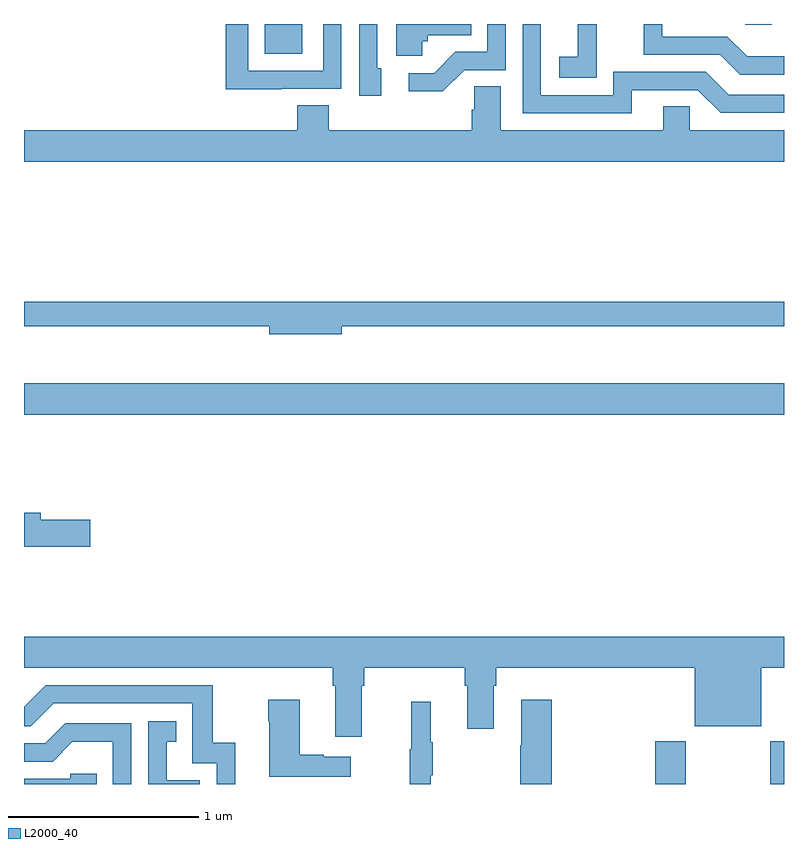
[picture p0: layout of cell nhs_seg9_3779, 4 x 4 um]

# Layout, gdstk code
import gdstk
lib = gdstk.Library(unit=1e-6, precision=1e-09)
def R(c, l, rs):  # rectangles x0, y0, x1, y1
    for r in rs: c.add(gdstk.rectangle(r[:2], r[2:], *l))
def P(c, l, *ps):  # polygons
    for p in ps: c.add(gdstk.Polygon(p, *l))
L2000_40 = (2000, 40)

nhs_seg9_3779 = lib.new_cell('nhs_seg9_3779')
R(nhs_seg9_3779, L2000_40, [(330.323,1170.5,330.483,1170.724), (330.928,1170.5,331,1170.724), (327,1172.444,331,1172.608), (328.268,1174.343,328.465,1174.5), (330.795,1174.497,330.935,1174.5)])
P(nhs_seg9_3779, L2000_40, [(329.097,1174.41),(329.124,1174.41),(329.124,1174.442),(329.354,1174.442),(329.354,1174.5),(328.958,1174.5),(328.958,1174.334),(329.097,1174.334)],
  [(329.316,1174.257),(329.535,1174.257),(329.535,1174.5),(329.439,1174.5),(329.439,1174.353),(329.27,1174.353),(329.159,1174.242),(329.025,1174.242),(329.025,1174.145),(329.203,1174.145)],
  [(328.355,1174.158),(328.671,1174.158),(328.671,1174.5),(328.575,1174.5),(328.575,1174.254),(328.179,1174.254),(328.179,1174.5),(328.063,1174.5),(328.063,1174.157),(328.355,1174.157)],
  [(330.199,1174.152),(330.546,1174.152),(330.666,1174.032),(331,1174.032),(331,1174.128),(330.708,1174.128),(330.588,1174.248),(330.102,1174.248),(330.102,1174.125),(329.721,1174.125),(329.721,1174.5),(329.625,1174.5),(329.625,1174.029),(330.199,1174.029)],
  [(330.015,1174.423),(330.014,1174.423),(330.014,1174.5),(329.915,1174.5),(329.915,1174.327),(329.817,1174.327),(329.817,1174.217),(330.015,1174.217)],
  [(331,1174.33),(330.806,1174.33),(330.702,1174.434),(330.36,1174.434),(330.36,1174.5),(330.262,1174.5),(330.262,1174.338),(330.665,1174.338),(330.77,1174.233),(331,1174.233)],
  [(328.879,1174.266),(328.86,1174.266),(328.86,1174.5),(328.764,1174.5),(328.764,1174.122),(328.879,1174.122)],
  [(331,1173.94),(330.504,1173.94),(330.504,1174.067),(330.365,1174.067),(330.365,1173.94),(329.509,1173.94),(329.509,1174.172),(329.37,1174.172),(329.37,1174.049),(329.357,1174.049),(329.357,1173.94),(328.604,1173.94),(328.604,1174.073),(328.439,1174.073),(328.439,1173.94),(327,1173.94),(327,1173.776),(331,1173.776)],
  [(328.672,1172.91),(331,1172.91),(331,1173.038),(327,1173.038),(327,1172.91),(328.292,1172.91),(328.292,1172.867),(328.672,1172.867)],
  [(327.349,1171.892),(327.088,1171.892),(327.088,1171.928),(327,1171.928),(327,1171.75),(327.349,1171.75)],
  [(328.777,1171.016),(328.79,1171.016),(328.79,1171.112),(329.321,1171.112),(329.321,1171.016),(329.333,1171.016),(329.333,1170.792),(329.473,1170.792),(329.473,1171.016),(329.486,1171.016),(329.486,1171.112),(330.53,1171.112),(330.53,1170.803),(330.88,1170.803),(330.88,1171.112),(331,1171.112),(331,1171.276),(327,1171.276),(327,1171.112),(328.625,1171.112),(328.625,1171.016),(328.637,1171.016),(328.637,1170.75),(328.777,1170.75)],
  [(328.112,1170.718),(327.994,1170.718),(327.994,1171.02),(327.114,1171.02),(327,1170.906),(327,1170.804),(327.036,1170.804),(327.156,1170.924),(327.885,1170.924),(327.885,1170.609),(328.014,1170.609),(328.014,1170.5),(328.112,1170.5)],
  [(328.72,1170.643),(328.577,1170.643),(328.577,1170.653),(328.45,1170.653),(328.45,1170.943),(328.285,1170.943),(328.285,1170.83),(328.292,1170.83),(328.292,1170.539),(328.72,1170.539)],
  [(329.777,1170.943),(329.618,1170.943),(329.618,1170.704),(329.611,1170.704),(329.611,1170.5),(329.777,1170.5)],
  [(329.141,1170.547),(329.152,1170.547),(329.152,1170.721),(329.141,1170.721),(329.141,1170.934),(329.038,1170.934),(329.038,1170.684),(329.031,1170.684),(329.031,1170.5),(329.141,1170.5)],
  [(327.924,1170.519),(327.751,1170.519),(327.751,1170.723),(327.8,1170.723),(327.8,1170.829),(327.654,1170.829),(327.654,1170.5),(327.924,1170.5)],
  [(327.564,1170.819),(327.218,1170.819),(327.113,1170.714),(327,1170.714),(327,1170.618),(327.15,1170.618),(327.254,1170.722),(327.468,1170.722),(327.468,1170.5),(327.564,1170.5)],
  [(327.383,1170.555),(327.243,1170.555),(327.243,1170.528),(327,1170.528),(327,1170.5),(327.383,1170.5)])

lib.write_gds('nhs_seg9_3779.gds')
